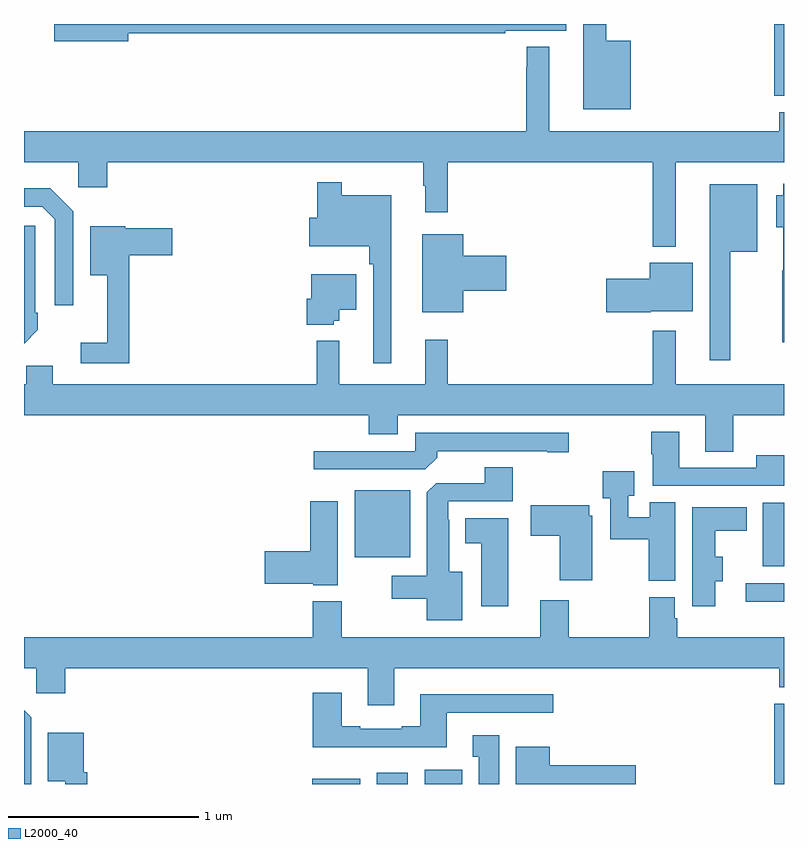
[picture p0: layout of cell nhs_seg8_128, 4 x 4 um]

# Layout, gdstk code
import gdstk
lib = gdstk.Library(unit=1e-6, precision=1e-09)
def R(c, l, rs):  # rectangles x0, y0, x1, y1
    for r in rs: c.add(gdstk.rectangle(r[:2], r[2:], *l))
def P(c, l, *ps):  # polygons
    for p in ps: c.add(gdstk.Polygon(p, *l))
L2000_40 = (2000, 40)

nhs_seg8_128 = lib.new_cell('nhs_seg8_128')
R(nhs_seg8_128, L2000_40, [(120.518,1107.9,120.769,1107.928), (120.857,1107.9,121.021,1107.958), (121.109,1107.9,121.306,1107.976), (122.948,1107.9,123,1108.322), (122.799,1108.859,123,1108.956), (122.888,1109.045,123,1109.38), (120.74,1109.093,121.033,1109.446), (122.948,1111.523,123,1111.9)])
P(nhs_seg8_128, L2000_40, [(119.548,1111.852),(121.532,1111.852),(121.532,1111.865),(121.855,1111.865),(121.855,1111.9),(119.16,1111.9),(119.16,1111.81),(119.548,1111.81)],
  [(122.194,1111.813),(122.065,1111.813),(122.065,1111.9),(121.943,1111.9),(121.943,1111.451),(122.194,1111.451)],
  [(119,1111.172),(119.286,1111.172),(119.286,1111.041),(119.438,1111.041),(119.438,1111.172),(121.101,1111.172),(121.101,1111.049),(121.112,1111.049),(121.112,1110.909),(121.229,1110.909),(121.229,1111.172),(122.31,1111.172),(122.31,1110.728),(122.431,1110.728),(122.431,1111.172),(123,1111.172),(123,1111.435),(122.975,1111.435),(122.975,1111.336),(121.765,1111.336),(121.765,1111.78),(121.645,1111.78),(121.645,1111.673),(121.644,1111.673),(121.644,1111.336),(119,1111.336)],
  [(120.934,1111),(120.673,1111),(120.673,1111.066),(120.544,1111.066),(120.544,1110.879),(120.5,1110.879),(120.5,1110.731),(120.817,1110.731),(120.817,1110.635),(120.837,1110.635),(120.837,1110.114),(120.934,1110.114)],
  [(123,1111.06),(122.996,1111.06),(122.996,1111),(122.96,1111),(122.96,1110.83),(122.996,1110.83),(122.996,1110.605),(122.992,1110.605),(122.992,1110.225),(123,1110.225)],
  [(122.716,1110.701),(122.86,1110.701),(122.86,1111.057),(122.609,1111.057),(122.609,1110.129),(122.716,1110.129)],
  [(119.259,1110.915),(119.138,1111.036),(119,1111.036),(119,1110.939),(119.097,1110.939),(119.163,1110.873),(119.163,1110.42),(119.259,1110.42)],
  [(119.073,1110.291),(119.073,1110.379),(119.058,1110.379),(119.058,1110.837),(119,1110.837),(119,1110.218)],
  [(119.555,1110.683),(119.779,1110.683),(119.779,1110.825),(119.532,1110.825),(119.532,1110.835),(119.348,1110.835),(119.348,1110.578),(119.438,1110.578),(119.438,1110.223),(119.298,1110.223),(119.298,1110.114),(119.555,1110.114)],
  [(121.312,1110.497),(121.537,1110.497),(121.537,1110.68),(121.312,1110.68),(121.312,1110.793),(121.097,1110.793),(121.097,1110.383),(121.312,1110.383)],
  [(122.298,1110.389),(122.521,1110.389),(122.521,1110.643),(122.294,1110.643),(122.294,1110.56),(122.064,1110.56),(122.064,1110.382),(122.298,1110.382)],
  [(120.63,1110.339),(120.658,1110.339),(120.658,1110.395),(120.748,1110.395),(120.748,1110.583),(120.512,1110.583),(120.512,1110.453),(120.488,1110.453),(120.488,1110.317),(120.63,1110.317)],
  [(122.733,1109.84),(123,1109.84),(123,1110.004),(122.431,1110.004),(122.431,1110.286),(122.31,1110.286),(122.31,1110.004),(121.229,1110.004),(121.229,1110.238),(121.112,1110.238),(121.112,1110.004),(120.659,1110.004),(120.659,1110.232),(120.541,1110.232),(120.541,1110.004),(119.152,1110.004),(119.152,1110.102),(119.013,1110.102),(119.013,1110.004),(119,1110.004),(119,1109.84),(120.815,1109.84),(120.815,1109.741),(120.967,1109.741),(120.967,1109.84),(122.585,1109.84),(122.585,1109.65),(122.733,1109.65)],
  [(123,1109.629),(122.854,1109.629),(122.854,1109.565),(122.449,1109.565),(122.449,1109.755),(122.302,1109.755),(122.302,1109.635),(122.309,1109.635),(122.309,1109.469),(123,1109.469)],
  [(121.175,1109.618),(121.175,1109.652),(121.754,1109.652),(121.754,1109.647),(121.867,1109.647),(121.867,1109.748),(121.059,1109.748),(121.059,1109.652),(120.525,1109.652),(120.525,1109.556),(121.113,1109.556)],
  [(121.306,1109.017),(121.237,1109.017),(121.237,1109.291),(121.233,1109.291),(121.233,1109.388),(121.572,1109.388),(121.572,1109.567),(121.424,1109.567),(121.424,1109.484),(121.17,1109.484),(121.121,1109.435),(121.121,1108.996),(120.936,1108.996),(120.936,1108.874),(121.121,1108.874),(121.121,1108.763),(121.306,1108.763)],
  [(122.428,1109.384),(122.294,1109.384),(122.294,1109.304),(122.181,1109.304),(122.181,1109.417),(122.212,1109.417),(122.212,1109.547),(122.047,1109.547),(122.047,1109.405),(122.085,1109.405),(122.085,1109.188),(122.287,1109.188),(122.287,1108.969),(122.428,1108.969)],
  [(120.652,1109.389),(120.506,1109.389),(120.506,1109.126),(120.267,1109.126),(120.267,1108.955),(120.522,1108.955),(120.522,1108.946),(120.652,1108.946)],
  [(121.99,1109.313),(121.975,1109.313),(121.975,1109.368),(121.668,1109.368),(121.668,1109.206),(121.82,1109.206),(121.82,1108.973),(121.99,1108.973)],
  [(122.638,1108.966),(122.677,1108.966),(122.677,1109.095),(122.638,1109.095),(122.638,1109.234),(122.803,1109.234),(122.803,1109.356),(122.516,1109.356),(122.516,1108.836),(122.638,1108.836)],
  [(121.549,1109.299),(121.322,1109.299),(121.322,1109.168),(121.406,1109.168),(121.406,1108.836),(121.549,1108.836)],
  [(120.949,1108.508),(122.975,1108.508),(122.975,1108.409),(123,1108.409),(123,1108.672),(122.438,1108.672),(122.438,1108.773),(122.425,1108.773),(122.425,1108.884),(122.29,1108.884),(122.29,1108.672),(121.866,1108.672),(121.866,1108.867),(121.718,1108.867),(121.718,1108.672),(120.673,1108.672),(120.673,1108.861),(120.521,1108.861),(120.521,1108.672),(119,1108.672),(119,1108.508),(119.064,1108.508),(119.064,1108.377),(119.216,1108.377),(119.216,1108.508),(120.809,1108.508),(120.809,1108.314),(120.949,1108.314)],
  [(121.225,1108.275),(121.786,1108.275),(121.786,1108.372),(121.085,1108.372),(121.085,1108.204),(120.989,1108.204),(120.989,1108.191),(120.769,1108.191),(120.769,1108.204),(120.673,1108.204),(120.673,1108.381),(120.521,1108.381),(120.521,1108.094),(121.225,1108.094)],
  [(119.037,1108.251),(119,1108.288),(119,1107.9),(119.037,1107.9)],
  [(119.333,1107.963),(119.314,1107.963),(119.314,1108.171),(119.126,1108.171),(119.126,1107.914),(119.216,1107.914),(119.216,1107.9),(119.333,1107.9)],
  [(121.501,1108.156),(121.361,1108.156),(121.361,1108.043),(121.394,1108.043),(121.394,1107.9),(121.501,1107.9)],
  [(122.221,1107.998),(121.768,1107.998),(121.768,1108.096),(121.589,1108.096),(121.589,1107.9),(122.221,1107.9)])

lib.write_gds('nhs_seg8_128.gds')
